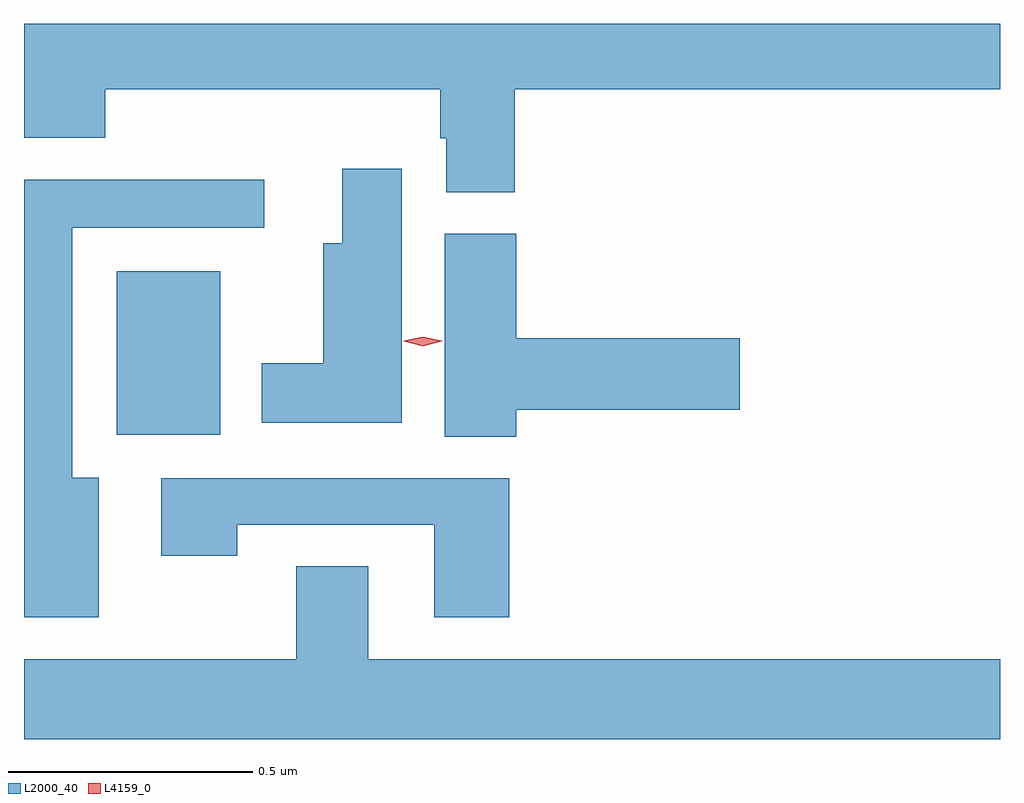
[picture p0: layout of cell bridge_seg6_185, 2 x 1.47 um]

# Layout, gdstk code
import gdstk
lib = gdstk.Library(unit=1e-6, precision=1e-09)
def R(c, l, rs):  # rectangles x0, y0, x1, y1
    for r in rs: c.add(gdstk.rectangle(r[:2], r[2:], *l))
def P(c, l, *ps):  # polygons
    for p in ps: c.add(gdstk.Polygon(p, *l))
L2000_40 = (2000, 40)
L4159_0 = (4159, 0)

bridge_seg6_185 = lib.new_cell('bridge_seg6_185')
R(bridge_seg6_185, L2000_40, [(333.62,931.976,333.832,932.311)])
P(bridge_seg6_185, L2000_40, [(333.43,932.684),(333.431,932.684),(333.431,932.585),(333.596,932.585),(333.596,932.684),(334.283,932.684),(334.283,932.583),(334.295,932.583),(334.295,932.473),(334.436,932.473),(334.436,932.684),(335.43,932.684),(335.43,932.818),(333.43,932.818)],
  [(334.204,932.521),(334.082,932.521),(334.082,932.368),(334.043,932.368),(334.043,932.122),(333.917,932.122),(333.917,932),(334.204,932)],
  [(333.583,931.888),(333.529,931.888),(333.529,932.4),(333.922,932.4),(333.922,932.498),(333.43,932.498),(333.43,931.602),(333.583,931.602)],
  [(334.439,932.027),(334.897,932.027),(334.897,932.174),(334.439,932.174),(334.439,932.388),(334.292,932.388),(334.292,931.972),(334.439,931.972)],
  [(334.424,931.887),(333.711,931.887),(333.711,931.728),(333.867,931.728),(333.867,931.791),(334.271,931.791),(334.271,931.602),(334.424,931.602)],
  [(335.43,931.516),(334.135,931.516),(334.135,931.706),(333.988,931.706),(333.988,931.516),(333.43,931.516),(333.43,931.352),(335.43,931.352)])
P(bridge_seg6_185, L4159_0, [(334.247,932.157),(334.208,932.167),(334.208,932.167),(334.208,932.168),(334.247,932.177),(334.286,932.168),(334.287,932.167),(334.286,932.167)])

lib.write_gds('bridge_seg6_185.gds')
